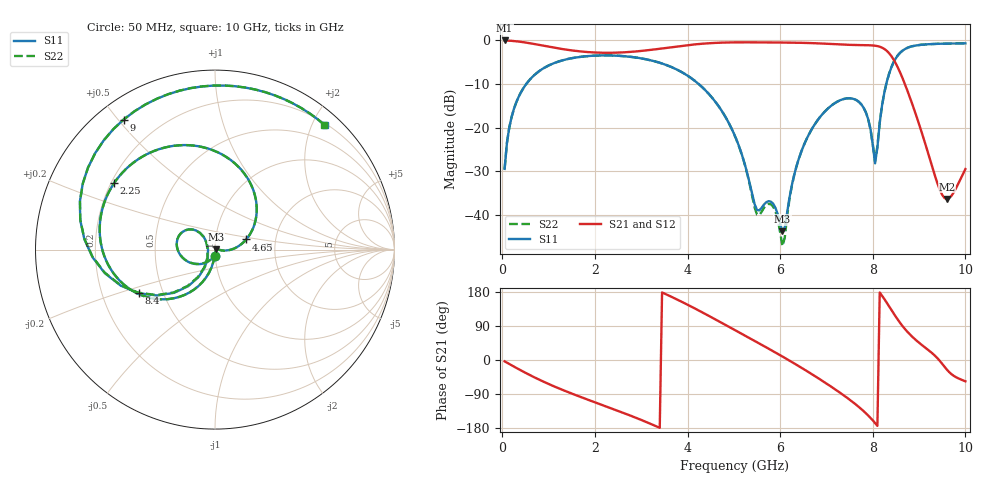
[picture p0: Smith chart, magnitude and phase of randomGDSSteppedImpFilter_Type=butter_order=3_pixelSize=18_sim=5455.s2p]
! freq	dB(S11)	phase(S11)	dB(S12)	phase(S12)
!  dB(S21)	phase(S21)	dB(S22)	phase(S22)
!S-par simulation data
#  GHz  S  DB  R 50
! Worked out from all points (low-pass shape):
!   200 points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, 50 MHz to 10 GHz, reference 50 ohm
!   highest |S21| = -0.01 dB at 50 MHz (marker M1); lowest = -36.4 dB at 9.6 GHz (marker M2)
!   |S21| within 3 dB of the highest: start of sweep to 8.358 GHz
!   lowest |S11| = -43.8 dB at 6.05 GHz (marker M3), VSWR 1.01, Z = 50.6 + j0.128 ohm
!   |S11| at or under -10 dB: start of sweep to 517.8 MHz; 4.241 GHz to 8.292 GHz (4.05 GHz wide, 64.6 % of centre)
!   |S22| runs from -47.2 to -0.7 dB; largest |S21 - S12| = 0
!   S11 on the Smith chart (normalised r, x): 50 MHz: 0.99, -0.07; 2.25 GHz: 0.21, +0.29; 4.65 GHz: 1.41, +0.16; 8.4 GHz: 0.36, -0.23; 9 GHz: 0.08, +0.52; 10 GHz: 0.23, +2.19
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0.05  -29.47 -93.6  -0.01 -3.5  -0.01 -3.5  -29.47 -93.6
0.2  -17.60 -104.3  -0.10 -13.9  -0.10 -13.9  -17.60 -104.3
0.5  -10.25 -124.3  -0.48 -33.8  -0.48 -33.8  -10.25 -124.3
1.75  -3.69 169.3  -2.59 -100.3  -2.59 -100.3  -3.69 169.3
2.25  -3.44 146.7  -2.84 -122.9  -2.84 -122.9  -3.44 146.8
3.4  -5.12 91.3  -1.91 -179.0  -1.91 -179.0  -5.12 91.4
4.65  -14.77 18.0  -0.54 103.9  -0.54 103.9  -14.77 18.0
5.05  -22.58 -2.7  -0.44 77.2  -0.44 77.2  -22.60 -3.1
5.5  -38.87 40.3  -0.45 46.9  -0.45 46.9  -39.92 40.0
5.85  -37.45 74.7  -0.47 23.1  -0.47 23.1  -38.12 81.7
6.05  -43.81 11.3  -0.49 9.1  -0.49 9.1  -47.18 13.1
6.3  -30.97 -91.4  -0.52 -8.7  -0.52 -8.7  -31.05 -96.1
6.7  -20.05 -129.2  -0.63 -38.6  -0.63 -38.6  -20.04 -130.6
7.65  -13.72 151.5  -1.06 -119.0  -1.06 -119.0  -13.71 151.4
7.9  -18.04 131.8  -1.10 -146.3  -1.10 -146.3  -18.00 132.2
8.05  -28.18 176.2  -1.21 -166.3  -1.21 -166.3  -27.75 176.5
8.35  -7.72 -141.5  -2.90 142.1  -2.90 142.1  -7.71 -142.0
8.4  -6.21 -150.2  -3.58 132.5  -3.58 132.5  -6.20 -150.6
8.65  -2.29 167.7  -8.85 88.4  -8.85 88.4  -2.28 167.5
9  -1.06 125.1  -19.21 45.5  -19.21 45.5  -1.05 125.0
9.6  -0.73 75.8  -36.36 -25.4  -36.36 -25.4  -0.73 75.9
10  -0.68 48.6  -29.50 -56.3  -29.50 -56.3  -0.68 48.8
